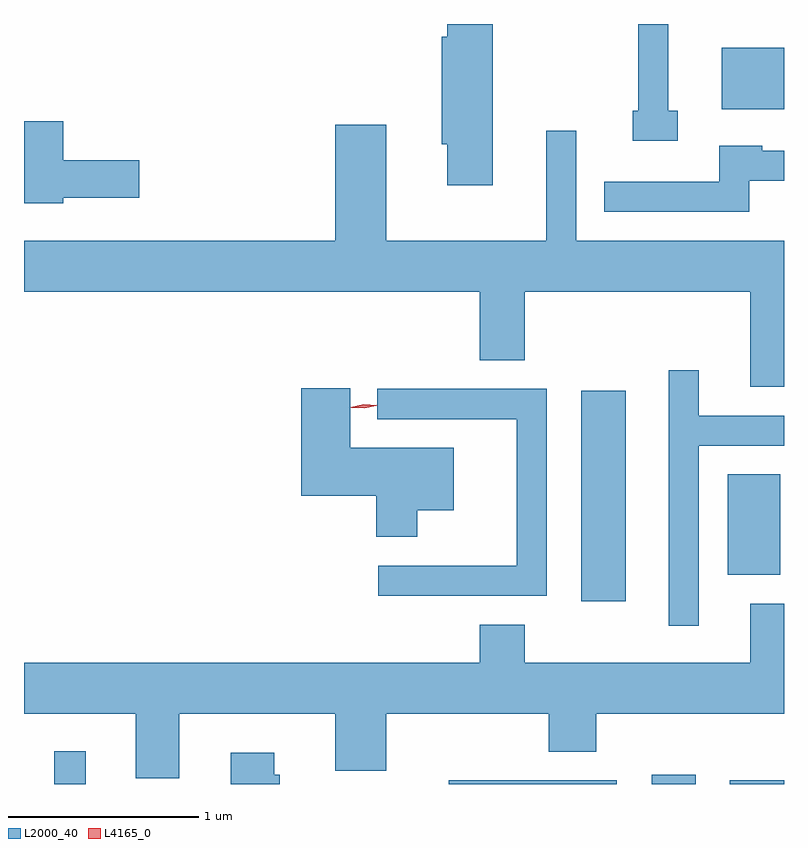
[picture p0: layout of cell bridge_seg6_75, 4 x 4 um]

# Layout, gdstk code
import gdstk
lib = gdstk.Library(unit=1e-6, precision=1e-09)
def R(c, l, rs):  # rectangles x0, y0, x1, y1
    for r in rs: c.add(gdstk.rectangle(r[:2], r[2:], *l))
def P(c, l, *ps):  # polygons
    for p in ps: c.add(gdstk.Polygon(p, *l))
L2000_40 = (2000, 40)
L4165_0 = (4165, 0)

bridge_seg6_75 = lib.new_cell('bridge_seg6_75')
R(bridge_seg6_75, L2000_40, [(1312.496,1662.885,1312.664,1663.058), (1314.573,1662.885,1315.459,1662.904), (1315.641,1662.885,1315.874,1662.934), (1316.053,1662.885,1316.338,1662.904), (1315.271,1663.846,1315.504,1664.954), (1316.041,1663.986,1316.319,1664.514), (1316.011,1666.436,1316.338,1666.759)])
P(bridge_seg6_75, L2000_40, [(1315.778,1666.429),(1315.729,1666.429),(1315.729,1666.885),(1315.571,1666.885),(1315.571,1666.429),(1315.541,1666.429),(1315.541,1666.271),(1315.778,1666.271)],
  [(1314.804,1666.885),(1314.566,1666.885),(1314.566,1666.819),(1314.536,1666.819),(1314.536,1666.251),(1314.566,1666.251),(1314.566,1666.036),(1314.804,1666.036)],
  [(1312.544,1665.971),(1312.944,1665.971),(1312.944,1666.169),(1312.544,1666.169),(1312.544,1666.374),(1312.338,1666.374),(1312.338,1665.941),(1312.544,1665.941)],
  [(1316.338,1665.744),(1315.244,1665.744),(1315.244,1666.323),(1315.086,1666.323),(1315.086,1665.744),(1314.244,1665.744),(1314.244,1666.354),(1313.976,1666.354),(1313.976,1665.744),(1312.338,1665.744),(1312.338,1665.476),(1314.736,1665.476),(1314.736,1665.116),(1314.974,1665.116),(1314.974,1665.476),(1316.161,1665.476),(1316.161,1664.976),(1316.338,1664.976)],
  [(1316.154,1666.061),(1316.338,1666.061),(1316.338,1666.219),(1316.224,1666.219),(1316.224,1666.244),(1315.996,1666.244),(1315.996,1666.054),(1315.393,1666.054),(1315.393,1665.896),(1316.154,1665.896)],
  [(1315.889,1664.666),(1316.338,1664.666),(1316.338,1664.824),(1315.889,1664.824),(1315.889,1665.063),(1315.731,1665.063),(1315.731,1663.718),(1315.889,1663.718)],
  [(1314.409,1664.326),(1314.599,1664.326),(1314.599,1664.654),(1314.054,1664.654),(1314.054,1664.969),(1313.796,1664.969),(1313.796,1664.401),(1314.191,1664.401),(1314.191,1664.186),(1314.409,1664.186)],
  [(1315.089,1664.964),(1314.198,1664.964),(1314.198,1664.806),(1314.931,1664.806),(1314.931,1664.034),(1314.203,1664.034),(1314.203,1663.876),(1315.089,1663.876)],
  [(1313.154,1663.256),(1313.976,1663.256),(1313.976,1662.956),(1314.244,1662.956),(1314.244,1663.256),(1315.101,1663.256),(1315.101,1663.056),(1315.349,1663.056),(1315.349,1663.256),(1316.338,1663.256),(1316.338,1663.834),(1316.161,1663.834),(1316.161,1663.524),(1314.974,1663.524),(1314.974,1663.724),(1314.736,1663.724),(1314.736,1663.524),(1312.338,1663.524),(1312.338,1663.256),(1312.926,1663.256),(1312.926,1662.916),(1313.154,1662.916)],
  [(1313.684,1662.934),(1313.654,1662.934),(1313.654,1663.049),(1313.426,1663.049),(1313.426,1662.885),(1313.684,1662.885)])
P(bridge_seg6_75, L4165_0, [(1314.128,1664.863),(1314.058,1664.867),(1314.058,1664.868),(1314.058,1664.868),(1314.126,1664.883),(1314.196,1664.879),(1314.196,1664.879),(1314.196,1664.878)],
  [(1314.128,1664.862),(1314.061,1664.865),(1314.061,1664.865),(1314.061,1664.866),(1314.126,1664.881),(1314.192,1664.878),(1314.193,1664.878),(1314.192,1664.877)])

lib.write_gds('bridge_seg6_75.gds')
